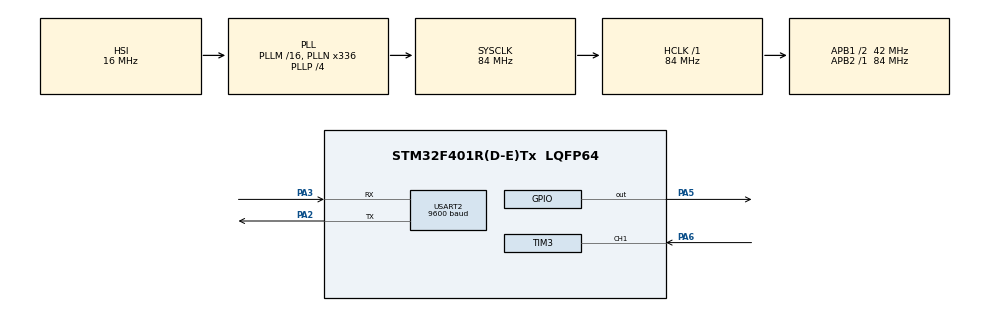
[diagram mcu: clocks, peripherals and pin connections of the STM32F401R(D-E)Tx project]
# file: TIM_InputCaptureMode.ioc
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Mcu.Family=STM32F4
RCC.CortexFreq_Value=84000000
Dma.TIM1_UP.0.Mode=DMA_CIRCULAR
RCC.APB1CLKDivider=RCC_HCLK_DIV2
NVIC.DMA1_Stream4_IRQn=true\:0\:0\:false\:false\:true\:false\:true
USART2.BaudRate=9600
RCC.SYSCLKSource=RCC_SYSCLKSOURCE_PLLCLK
ProjectManager.StackSize=0x400
Dma.TIM3_CH1/TRIG.1.FIFOMode=DMA_FIFOMODE_DISABLE
PA3.Mode=Asynchronous
Dma.TIM1_UP.0.PeriphDataAlignment=DMA_PDATAALIGN_BYTE
Dma.TIM1_UP.0.MemInc=DMA_MINC_ENABLE
Dma.TIM3_CH1/TRIG.1.MemDataAlignment=DMA_MDATAALIGN_HALFWORD
TIM1.Prescaler=0
ProjectManager.TargetToolchain=STM32CubeIDE
RCC.HCLKFreq_Value=84000000
RCC.APB2TimFreq_Value=84000000
Dma.TIM3_CH1/TRIG.1.Instance=DMA1_Stream4
Dma.TIM3_CH1/TRIG.1.MemInc=DMA_MINC_ENABLE
Dma.TIM1_UP.0.Priority=DMA_PRIORITY_LOW
Dma.TIM3_CH1/TRIG.1.Direction=DMA_PERIPH_TO_MEMORY
RCC.LSE_VALUE=32768
RCC.AHBFreq_Value=84000000
PA5.Signal=GPIO_Output
RCC.HSE_VALUE=25000000
TIM3.Channel-Input_Capture1_from_TI1=TIM_CHANNEL_1
Dma.TIM3_CH1/TRIG.1.PeriphInc=DMA_PINC_DISABLE
board=custom
RCC.VCOOutputFreq_Value=336000000
RCC.RCC_MCO1Source=RCC_MCO1SOURCE_HSE
NVIC.TIM3_IRQn=true\:0\:0\:false\:false\:true\:true\:true
Dma.TIM1_UP.0.Instance=DMA2_Stream5
Dma.TIM3_CH1/TRIG.1.PeriphDataAlignment=DMA_PDATAALIGN_HALFWORD
RCC.APB2Freq_Value=84000000
TIM3.Prescaler=0
NVIC.DMA2_Stream5_IRQn=true\:0\:0\:false\:false\:true\:false\:true
SH.S_TIM3_CH1.0=TIM3_CH1,Input_Capture1_from_TI1
Dma.TIM1_UP.0.PeriphInc=DMA_PINC_DISABLE
Mcu.Name=STM32F401R(D-E)Tx
VP_TIM1_VS_ClockSourceINT.Mode=Internal
PA2.Signal=USART2_TX
RCC.48MHZClocksFreq_Value=84000000
RCC.SYSCLKFreq_VALUE=84000000
Mcu.Package=LQFP64
PA6.Signal=S_TIM3_CH1
Dma.TIM1_UP.0.Direction=DMA_MEMORY_TO_PERIPH
Dma.TIM3_CH1/TRIG.1.Priority=DMA_PRIORITY_LOW
USART2.VirtualMode=VM_ASYNC
Dma.TIM3_CH1/TRIG.1.Mode=DMA_NORMAL
ProjectManager.HeapSize=0x200
Dma.TIM1_UP.0.MemDataAlignment=DMA_MDATAALIGN_BYTE
RCC.HSI_VALUE=16000000
RCC.PLLP=RCC_PLLP_DIV4
NVIC.PriorityGroup=NVIC_PRIORITYGROUP_4
RCC.PLLN=336
Dma.Request1=TIM3_CH1/TRIG
RCC.APB1TimFreq_Value=84000000
PA2.Mode=Asynchronous
TIM1.Period=839
RCC.APB1Freq_Value=42000000
Dma.Request0=TIM1_UP
VP_TIM3_VS_ClockSourceINT.Mode=Internal
Dma.TIM1_UP.0.FIFOMode=DMA_FIFOMODE_DISABLE
PA3.Signal=USART2_RX

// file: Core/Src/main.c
/* USER CODE BEGIN Header */
/**
  ******************************************************************************
  * @file           : main.c
  * @brief          : Main program body
  ******************************************************************************
  * @attention
  *
  * <h2><center>&copy; Copyright (c) 2021 STMicroelectronics.
  * All rights reserved.</center></h2>
  *
  * This software component is licensed by ST under BSD 3-Clause license,
  * the "License"; You may not use this file except in compliance with the
  * License. You may obtain a copy of the License at:
  *                        opensource.org/licenses/BSD-3-Clause
  *
  ******************************************************************************
  */
/* USER CODE END Header */
#include "main.h"

/* USER CODE BEGIN Includes */
#include <string.h>
/* USER CODE END Includes */

TIM_HandleTypeDef htim1;
TIM_HandleTypeDef htim3;
DMA_HandleTypeDef hdma_tim1_up;
DMA_HandleTypeDef hdma_tim3_ch1_trig;

UART_HandleTypeDef huart2;

/* USER CODE BEGIN PV */
float frequency = 0;
uint8_t  odrVals[] = { 0x0, 0xFF };
uint16_t captures[2];
volatile uint8_t  captureDone = 0;
/* USER CODE END PV */

void SystemClock_Config(void);
static void MX_GPIO_Init(void);
static void MX_DMA_Init(void);
static void MX_TIM1_Init(void);
static void MX_TIM3_Init(void);
static void MX_USART2_UART_Init(void);

int main(void)
{
  /* USER CODE BEGIN 1 */
	uint16_t diffCapture = 0;
	  char msg[30];
  /* USER CODE END 1 */

  /* MCU Configuration--------------------------------------------------------*/

  /* Reset of all peripherals, Initializes the Flash interface and the Systick. */
  HAL_Init();

  /* Configure the system clock */
  SystemClock_Config();

  /* Initialize all configured peripherals */
  MX_GPIO_Init();
  MX_DMA_Init();
  MX_TIM1_Init();
  MX_TIM3_Init();
  MX_USART2_UART_Init();
  /* USER CODE BEGIN 2 */
  HAL_TIM_Base_Start(&htim1);
  HAL_DMA_Start(&hdma_tim1_up, (uint32_t) odrVals, (uint32_t) &GPIOA->ODR, 2);
         __HAL_TIM_ENABLE_DMA(&htim1, TIM_DMA_UPDATE);

    HAL_TIM_IC_Start_DMA(&htim3, TIM_CHANNEL_1, (uint32_t*)captures, 2);/*(uint32_t*)*/

  /* USER CODE END 2 */

  /* Infinite loop */
  while (1)
  {

    /* USER CODE BEGIN 3 */
	  if (captureDone != 0) {
	        if (captures[1] >= captures[0]) {
	        	diffCapture = (captures[1] - captures[0]);
	        }else{
	        	diffCapture = (htim3.Instance->ARR - captures[0]) + captures[1];
	        }
	        frequency = HAL_RCC_GetHCLKFreq()/ (htim3.Instance->PSC + 1);

	        frequency = (float) frequency / diffCapture;

	        sprintf(msg, "Input frequency: %.3f\r\n", frequency);
	        HAL_UART_Transmit(&huart2, (uint8_t*) msg, strlen(msg), HAL_MAX_DELAY);
	        while (1);
	      }
  }
  /* USER CODE END 3 */
}

void SystemClock_Config(void)
{
  RCC_OscInitTypeDef RCC_OscInitStruct = {0};
  RCC_ClkInitTypeDef RCC_ClkInitStruct = {0};

  /** Configure the main internal regulator output voltage
  */
  __HAL_RCC_PWR_CLK_ENABLE();
  __HAL_PWR_VOLTAGESCALING_CONFIG(PWR_REGULATOR_VOLTAGE_SCALE2);
  /** Initializes the RCC Oscillators according to the specified parameters
  * in the RCC_OscInitTypeDef structure.
  */
  RCC_OscInitStruct.OscillatorType = RCC_OSCILLATORTYPE_HSI;
  RCC_OscInitStruct.HSIState = RCC_HSI_ON;
  RCC_OscInitStruct.HSICalibrationValue = RCC_HSICALIBRATION_DEFAULT;
  RCC_OscInitStruct.PLL.PLLState = RCC_PLL_ON;
  RCC_OscInitStruct.PLL.PLLSource = RCC_PLLSOURCE_HSI;
  RCC_OscInitStruct.PLL.PLLM = 16;
  RCC_OscInitStruct.PLL.PLLN = 336;
  RCC_OscInitStruct.PLL.PLLP = RCC_PLLP_DIV4;
  RCC_OscInitStruct.PLL.PLLQ = 4;
  if (HAL_RCC_OscConfig(&RCC_OscInitStruct) != HAL_OK)
  {
    Error_Handler();
  }
  /** Initializes the CPU, AHB and APB buses clocks
  */
  RCC_ClkInitStruct.ClockType = RCC_CLOCKTYPE_HCLK|RCC_CLOCKTYPE_SYSCLK
                              |RCC_CLOCKTYPE_PCLK1|RCC_CLOCKTYPE_PCLK2;
  RCC_ClkInitStruct.SYSCLKSource = RCC_SYSCLKSOURCE_PLLCLK;
  RCC_ClkInitStruct.AHBCLKDivider = RCC_SYSCLK_DIV1;
  RCC_ClkInitStruct.APB1CLKDivider = RCC_HCLK_DIV2;
  RCC_ClkInitStruct.APB2CLKDivider = RCC_HCLK_DIV1;

  if (HAL_RCC_ClockConfig(&RCC_ClkInitStruct, FLASH_LATENCY_2) != HAL_OK)
  {
    Error_Handler();
  }
}

static void MX_TIM1_Init(void)
{

  TIM_ClockConfigTypeDef sClockSourceConfig = {0};
  TIM_MasterConfigTypeDef sMasterConfig = {0};

  htim1.Instance = TIM1;
  htim1.Init.Prescaler = 0;
  htim1.Init.CounterMode = TIM_COUNTERMODE_UP;
  htim1.Init.Period = 839;
  htim1.Init.ClockDivision = TIM_CLOCKDIVISION_DIV1;
  htim1.Init.RepetitionCounter = 0;
  htim1.Init.AutoReloadPreload = TIM_AUTORELOAD_PRELOAD_DISABLE;
  if (HAL_TIM_Base_Init(&htim1) != HAL_OK)
  {
    Error_Handler();
  }
  sClockSourceConfig.ClockSource = TIM_CLOCKSOURCE_INTERNAL;
  if (HAL_TIM_ConfigClockSource(&htim1, &sClockSourceConfig) != HAL_OK)
  {
    Error_Handler();
  }
  sMasterConfig.MasterOutputTrigger = TIM_TRGO_RESET;
  sMasterConfig.MasterSlaveMode = TIM_MASTERSLAVEMODE_DISABLE;
  if (HAL_TIMEx_MasterConfigSynchronization(&htim1, &sMasterConfig) != HAL_OK)
  {
    Error_Handler();
  }

}

static void MX_TIM3_Init(void)
{

  TIM_ClockConfigTypeDef sClockSourceConfig = {0};
  TIM_MasterConfigTypeDef sMasterConfig = {0};
  TIM_IC_InitTypeDef sConfigIC = {0};

  htim3.Instance = TIM3;
  htim3.Init.Prescaler = 0;
  htim3.Init.CounterMode = TIM_COUNTERMODE_UP;
  htim3.Init.Period = 65535;
  htim3.Init.ClockDivision = TIM_CLOCKDIVISION_DIV1;
  htim3.Init.AutoReloadPreload = TIM_AUTORELOAD_PRELOAD_DISABLE;
  if (HAL_TIM_Base_Init(&htim3) != HAL_OK)
  {
    Error_Handler();
  }
  sClockSourceConfig.ClockSource = TIM_CLOCKSOURCE_INTERNAL;
  if (HAL_TIM_ConfigClockSource(&htim3, &sClockSourceConfig) != HAL_OK)
  {
    Error_Handler();
  }
  if (HAL_TIM_IC_Init(&htim3) != HAL_OK)
  {
    Error_Handler();
  }
  sMasterConfig.MasterOutputTrigger = TIM_TRGO_RESET;
  sMasterConfig.MasterSlaveMode = TIM_MASTERSLAVEMODE_DISABLE;
  if (HAL_TIMEx_MasterConfigSynchronization(&htim3, &sMasterConfig) != HAL_OK)
  {
    Error_Handler();
  }
  sConfigIC.ICPolarity = TIM_INPUTCHANNELPOLARITY_RISING;
  sConfigIC.ICSelection = TIM_ICSELECTION_DIRECTTI;
  sConfigIC.ICPrescaler = TIM_ICPSC_DIV1;
  sConfigIC.ICFilter = 0;
  if (HAL_TIM_IC_ConfigChannel(&htim3, &sConfigIC, TIM_CHANNEL_1) != HAL_OK)
  {
    Error_Handler();
  }

}

static void MX_USART2_UART_Init(void)
{

  huart2.Instance = USART2;
  huart2.Init.BaudRate = 9600;
  huart2.Init.WordLength = UART_WORDLENGTH_8B;
  huart2.Init.StopBits = UART_STOPBITS_1;
  huart2.Init.Parity = UART_PARITY_NONE;
  huart2.Init.Mode = UART_MODE_TX_RX;
  huart2.Init.HwFlowCtl = UART_HWCONTROL_NONE;
  huart2.Init.OverSampling = UART_OVERSAMPLING_16;
  if (HAL_UART_Init(&huart2) != HAL_OK)
  {
    Error_Handler();
  }

}

static void MX_DMA_Init(void)
{

  /* DMA controller clock enable */
  __HAL_RCC_DMA2_CLK_ENABLE();
  __HAL_RCC_DMA1_CLK_ENABLE();

  /* DMA interrupt init */
  /* DMA1_Stream4_IRQn interrupt configuration */
  HAL_NVIC_SetPriority(DMA1_Stream4_IRQn, 0, 0);
  HAL_NVIC_EnableIRQ(DMA1_Stream4_IRQn);
  /* DMA2_Stream5_IRQn interrupt configuration */
  HAL_NVIC_SetPriority(DMA2_Stream5_IRQn, 0, 0);
  HAL_NVIC_EnableIRQ(DMA2_Stream5_IRQn);

}

static void MX_GPIO_Init(void)
{
  GPIO_InitTypeDef GPIO_InitStruct = {0};

  /* GPIO Ports Clock Enable */
  __HAL_RCC_GPIOA_CLK_ENABLE();

  /*Configure GPIO pin Output Level */
  HAL_GPIO_WritePin(GPIOA, GPIO_PIN_5, GPIO_PIN_RESET);

  /*Configure GPIO pin : PA5 */
  GPIO_InitStruct.Pin = GPIO_PIN_5;
  GPIO_InitStruct.Mode = GPIO_MODE_OUTPUT_PP;
  GPIO_InitStruct.Pull = GPIO_NOPULL;
  GPIO_InitStruct.Speed = GPIO_SPEED_FREQ_LOW;
  HAL_GPIO_Init(GPIOA, &GPIO_InitStruct);

}

/* USER CODE BEGIN 4 */
void HAL_TIM_IC_CaptureCallback(TIM_HandleTypeDef *htim) {
  if (htim->Channel == HAL_TIM_ACTIVE_CHANNEL_1) {
    captureDone = 1;
  }
}
/* USER CODE END 4 */

void Error_Handler(void)
{
  __disable_irq();
  while (1)
  {
  }
}

/************************ (C) COPYRIGHT STMicroelectronics *****END OF FILE****/
